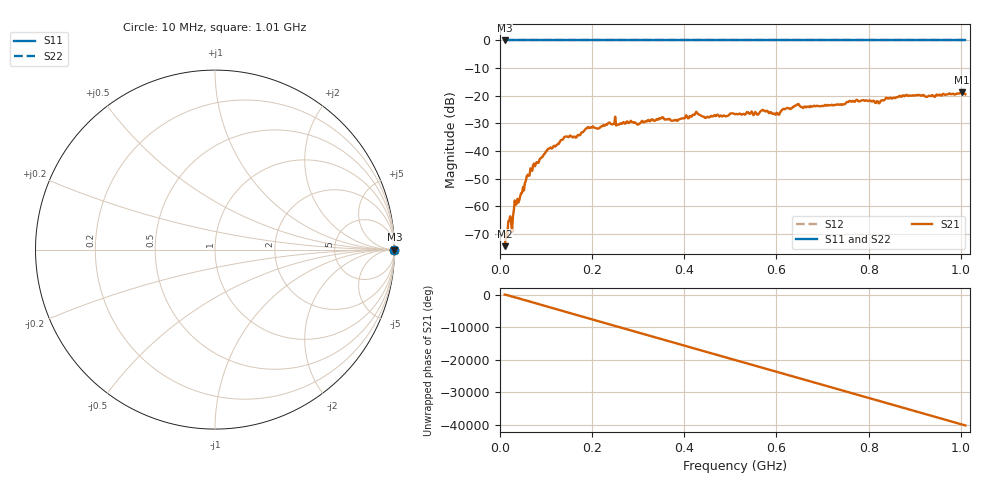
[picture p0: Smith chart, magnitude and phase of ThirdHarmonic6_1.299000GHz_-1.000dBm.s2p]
! 8/16/2025 2:16:52 PM
! C:\ANRITSUVNA\TEMP\TEMP.S2P
! CHANNEL.1
! TR.MEASUREMENT
! RAW.DATA
! RF.CORRECTION.OFF
! AVERAGING.OFF
! IF.BANDWIDTH: 5KHZ
! SWEEPTYPE:  FREQ.SWEEP(Linear)
! Reference Plane Port Info
! PORT:  PORT1  PORT2
! DISTANCE:  0  m  0  m
! TIME:  0  s  0  s
! PHASE.OFFSET:  0  deg.  0  deg.
! LOSS:  0  dB  0  dB
! REF.LOSS:  0  dB  0  dB
! REF.FREQ:  0  Hz  0  Hz
! Power Info
! POWER:  -20  dBm  -20  dBm
! EFF.POWER:  -20  dBm  -20  dBm
! SOURCE.ATTEN:  0  dB  0  dB
! TEST.ATTEN:  0  dB  0  dB
# GHZ S RI R 50.0
! FREQ.GHZ  S11RE  S11IM  S21RE  S21IM  S12RE  S12IM  S22RE  S22IM
!; PortSelection: Port_12
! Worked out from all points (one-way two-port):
!   501 points, 10 MHz to 1.01 GHz, reference 50 ohm
!   highest |S21| = -18.70 dB at 1.002 GHz (marker M1); lowest = -74.3 dB at 10 MHz (marker M2)
!   lowest |S11| = 0.0 dB at 10 MHz (marker M3)
!   |S11| at or under -10 dB: nowhere
!   |S22| runs from 0.0 to 0.0 dB; largest |S21 - S12| = 1.1
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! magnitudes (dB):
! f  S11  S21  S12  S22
! 10 MHz  0.0  -74.3  0.0  0.0
! 18 MHz  0.0  -65.3  0.0  0.0
! 26 MHz  0.0  -69.3  0.0  0.0
! 34 MHz  0.0  -59.4  0.0  0.0
! 44 MHz  0.0  -56.2  0.0  0.0
! 70 MHz  0.0  -47.1  0.0  0.0
! 104 MHz  0.0  -39.2  0.0  0.0
! 140 MHz  0.0  -34.8  0.0  0.0
! 178 MHz  0.0  -33.2  0.0  0.0
! 234 MHz  0.0  -30.0  0.0  0.0
! 344 MHz  0.0  -28.6  0.0  0.0
! 382 MHz  0.0  -28.7  0.0  0.0
! 428 MHz  0.0  -26.2  0.0  0.0
! 448 MHz  0.0  -27.8  0.0  0.0
! 510 MHz  0.0  -26.7  0.0  0.0
! 570 MHz  0.0  -25.1  0.0  0.0
! 602 MHz  0.0  -26.3  0.0  0.0
! 644 MHz  0.0  -23.3  0.0  0.0
! 678 MHz  0.0  -23.9  0.0  0.0
! 844 MHz  0.0  -21.0  0.0  0.0
! 1.002 GHz  0.0  -18.7  0.0  0.0
! 1.01 GHz  0.0  -19.4  0.0  0.0
